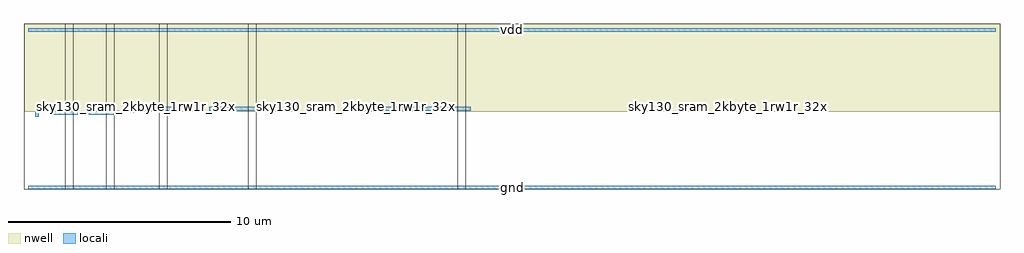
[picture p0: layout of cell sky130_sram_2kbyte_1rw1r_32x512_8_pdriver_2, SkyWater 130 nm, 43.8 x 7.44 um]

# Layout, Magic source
magic
tech sky130A
magscale 1 2
<< nwell >>
rect -36 679 8724 1471
<< locali >>
rect 0 1397 8688 1431
rect 64 636 98 702
rect 919 690 1293 724
rect 1626 690 2093 724
rect 2966 690 3973 724
rect 6235 690 6269 724
rect 196 652 449 686
rect 547 653 817 687
rect 919 670 953 690
rect 0 -17 8688 17
use sky130_sram_2kbyte_1rw1r_32x512_8_pinv_10  sky130_sram_2kbyte_1rw1r_32x512_8_pinv_10_0
transform 1 0 3892 0 1 0
box -36 -17 4832 1471
use sky130_sram_2kbyte_1rw1r_32x512_8_pinv_9  sky130_sram_2kbyte_1rw1r_32x512_8_pinv_9_0
transform 1 0 2012 0 1 0
box -36 -17 1916 1471
use sky130_sram_2kbyte_1rw1r_32x512_8_pinv_8  sky130_sram_2kbyte_1rw1r_32x512_8_pinv_8_0
transform 1 0 1212 0 1 0
box -36 -17 836 1471
use sky130_sram_2kbyte_1rw1r_32x512_8_pinv_7  sky130_sram_2kbyte_1rw1r_32x512_8_pinv_7_0
transform 1 0 736 0 1 0
box -36 -17 512 1471
use sky130_sram_2kbyte_1rw1r_32x512_8_pinv_0  sky130_sram_2kbyte_1rw1r_32x512_8_pinv_0_0
transform 1 0 368 0 1 0
box -36 -17 404 1471
use sky130_sram_2kbyte_1rw1r_32x512_8_pinv_0  sky130_sram_2kbyte_1rw1r_32x512_8_pinv_0_1
transform 1 0 0 0 1 0
box -36 -17 404 1471
<< labels >>
rlabel locali s 6252 707 6252 707 4 Z
port 1 nsew
rlabel locali s 81 669 81 669 4 A
port 2 nsew
rlabel locali s 4344 0 4344 0 4 gnd
port 3 nsew
rlabel locali s 4344 1414 4344 1414 4 vdd
port 4 nsew
<< properties >>
string FIXED_BBOX 0 0 8688 1414
string GDS_FILE $PDKPATH/libs.ref/sky130_sram_macros/gds/sky130_sram_2kbyte_1rw1r_32x512_8.gds
string GDS_END 10977646
string GDS_START 10975888
<< end >>
